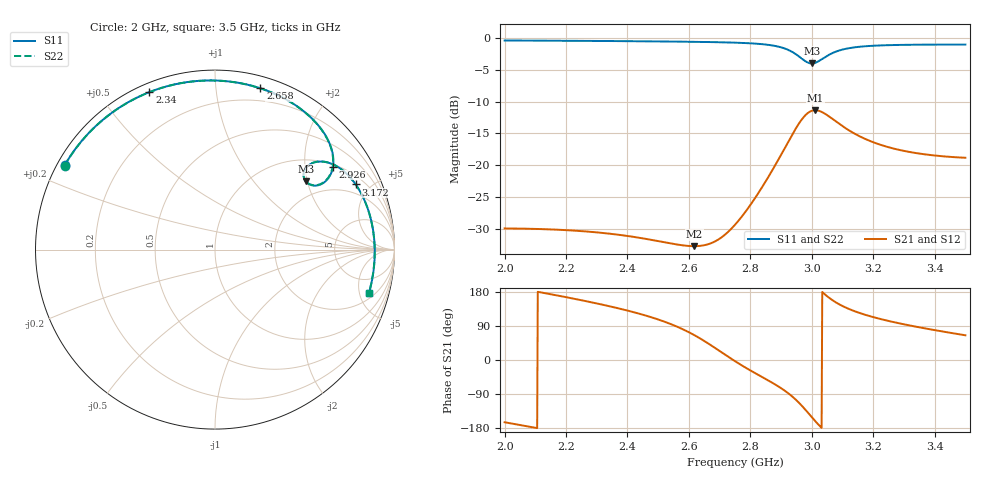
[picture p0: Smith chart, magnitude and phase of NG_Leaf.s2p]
! Touchstone file exported from HFSS 2022.1.0
!  File:  C:/Users/Hamza Safder/Downloads/PSF-V2 with holder (4).aedt
!  Generated:  11:59:10 PM  Sep 29, 2023
!  Design:  HFSSDesign1
!  Project:  PSF-V2 with holder (4)
!  Setup:  Setup1
!  Solution:  Sweep
! Variables:
!  WS = 5mm
!  ax = 15mm
!  az = 3.18mm
!  azd = 3mm
!  bx = 13mm
!  bx2 = 12.5mm
!  bx3 = 3.16mm
!  cin = 27.8mm
!  gap = 0.7mm
!  mid = 3mm
!  shift = 21.24mm
!  strip_1L = 18.62mm
!  substrate_L = 80mm
!  substrate_W = 70mm
!  t = 3mm
!  w50 = 9.18mm
!  wt = 1mm
!  xs = 0.8mm
!  zzz = 8mm
# GHz S MA R 50.000000
! Terminal data exported
! Port[1] = ground_T1
! Port[2] = ground_T2
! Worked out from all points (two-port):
!   751 points, 2 GHz to 3.5 GHz, reference 50 ohm
!   highest |S21| = -11.35 dB at 3.012 GHz (marker M1); lowest = -32.8 dB at 2.618 GHz (marker M2)
!   |S21| within 3 dB of the highest: 2.947 GHz to 3.115 GHz (168.9 MHz wide, 5.57 % of centre)
!   lowest |S11| = -4.0 dB at 3 GHz (marker M3), VSWR 4.44, Z = 77 + j97.6 ohm
!   |S11| at or under -10 dB: nowhere
!   |S22| runs from -4.0 to -0.4 dB; largest |S21 - S12| = 4.6e-15
!   S11 on the Smith chart (normalised r, x): 2 GHz: 0.02, +0.26; 2.34 GHz: 0.04, +0.67; 2.658 GHz: 0.09, +1.32; 2.926 GHz: 1.07, +2.79; 3.172 GHz: 1.42, +4.07; 3.5 GHz: 2.57, -6.11
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2  0.9604 150.8  0.03166 -164.3  0.03166 -164.3  0.9601 150.8
! Gamma 0 0 0 0
! Port Impedance 50 0 50 0
2.12  0.9574 137.6  0.03129 178.2  0.03129 178.2  0.957 137.6
2.25  0.9536 122.9  0.03017 157.8  0.03017 157.8  0.9532 123.0
2.34  0.9505 112.6  0.02882 142.1  0.02882 142.1  0.9502 112.6
2.5  0.9438 93.7  0.02516 106.9  0.02516 106.9  0.9434 93.8
2.618  0.9369 79.3  0.02295 65.5  0.02295 65.5  0.9365 79.4
2.658  0.9338 74.3  0.0236 46.1  0.0236 46.1  0.9333 74.3
2.704  0.9292 68.3  0.0267 21.5  0.0267 21.5  0.9287 68.4
2.75  0.9229 62.2  0.03383 -3.1  0.03383 -3.1  0.9224 62.3
2.844  0.8952 48.6  0.07053 -47.5  0.07053 -47.5  0.8946 48.7
2.892  0.8576 40.8  0.1113 -70.2  0.1113 -70.2  0.8571 40.9
2.926  0.8036 35.1  0.1568 -89.5  0.1568 -89.5  0.8033 35.3
2.968  0.6891 31.7  0.2299 -121.2  0.2299 -121.2  0.6896 31.9
3  0.6323 37.0  0.2678 -151.0  0.2678 -151.0  0.6336 37.1
3.012  0.6408 39.6  0.2706 -162.1  0.2706 -162.1  0.6421 39.7
3.044  0.712 41.9  0.253 172.2  0.253 172.2  0.713 41.9
3.076  0.7801 38.8  0.2231 153.2  0.2231 153.2  0.7807 38.9
3.114  0.8288 33.3  0.1925 137.1  0.1925 137.1  0.8291 33.4
3.172  0.8639 24.8  0.1615 119.8  0.1615 119.8  0.8638 24.9
3.25  0.882 14.3  0.1382 103.0  0.1382 103.0  0.8817 14.4
3.368  0.8901 -0.4  0.1215 83.5  0.1215 83.5  0.8896 -0.3
3.5  0.8913 -15.9  0.1142 65.2  0.1142 65.2  0.8907 -15.8
